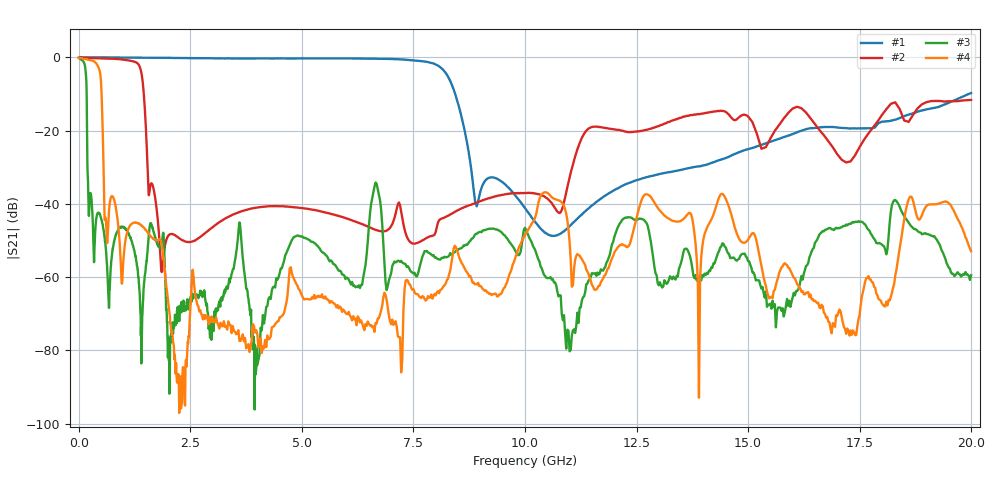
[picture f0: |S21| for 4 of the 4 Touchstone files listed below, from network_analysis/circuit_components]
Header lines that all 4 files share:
! Mini-Circuits
! S2P DATA File Format
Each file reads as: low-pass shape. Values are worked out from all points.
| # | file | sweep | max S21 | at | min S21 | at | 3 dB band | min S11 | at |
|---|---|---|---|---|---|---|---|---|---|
| 1 | VLF-7200+.s2p | 40 MHz to 20 GHz | -0.01 dB | 80 MHz | -48.8 dB | 10.64 GHz | 40 MHz-8.12 GHz | -55.0 dB | 6.68 GHz |
| 2 | VLFG-1000+.s2p | 1 MHz to 20 GHz | -0.07 dB | 1 MHz | -58.6 dB | 1.855 GHz | 1 MHz-1.375 GHz | -41.1 dB | 40 MHz |
| 3 | VLFX-80+.s2p | 10 MHz to 20 GHz | -0.31 dB | 10 MHz | -96.2 dB | 3.94 GHz | 10 MHz-145 MHz | -30.2 dB | 105 MHz |
| 4 | VLFX-300+.s2p | 1 MHz to 20 GHz | -0.16 dB | 1 MHz | -97.1 dB | 2.25 GHz | 1 MHz-450 MHz | -36.4 dB | 290 MHz |
